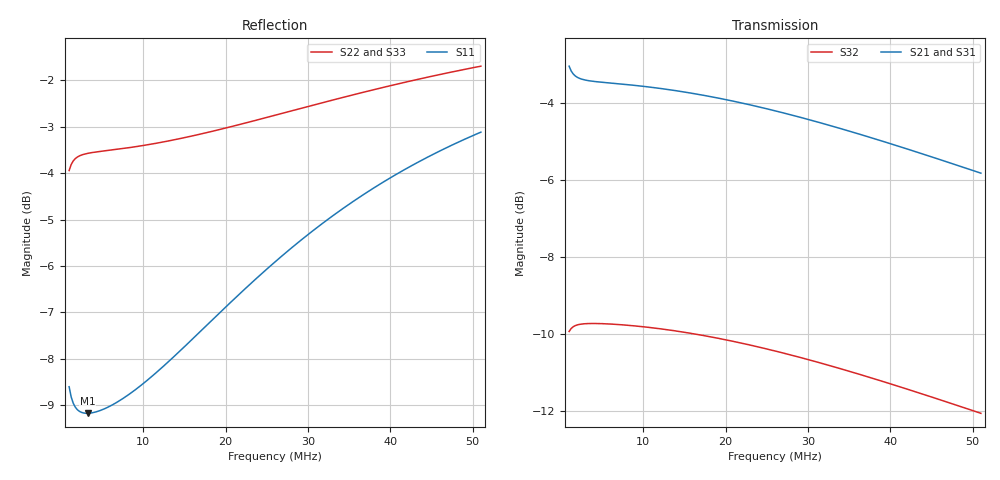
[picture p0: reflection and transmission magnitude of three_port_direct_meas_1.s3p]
# MHz S RI R 50
! S-Parameters data
! Freq  reS11  imS11  reS12  imS12  reS13  imS13
!  reS21  imS21  reS22  imS22  reS23  imS23
!  reS31  imS31  reS32  imS32  reS33  imS33
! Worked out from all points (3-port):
!   201 points, 1 MHz to 51 MHz, reference 50 ohm
!   strongest paths, dB at 1 MHz, 13.5 MHz, 26 MHz, 38.5 MHz, 51 MHz:
!     S21: -3.1, -3.7, -4.2, -5.0, -5.8
!     S31: -4.4, -3.9, -4.4, -5.1, -6.0
!     S32: -9.9, -9.9, -10.4, -11.2, -12.1
!   lowest |S11| = -9.2 dB at 3.25 MHz (marker M1), VSWR 2.07, Z = 24.6 + j5.52 ohm
!   |S11| at or under -10 dB: nowhere
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1  -0.3581 0.099  0.7029 -0.0371  -0.5811 -0.1699
   0.7029 -0.0371  0.6032 0.1985  0.2067 0.242
   -0.5811 -0.1699  0.2067 0.242  0.3821 0.6214
1.25  -0.3504 0.0919  0.6927 -0.0388  -0.6064 -0.1405
      0.6927 -0.0388  0.6223 0.168  0.2462 0.2063
      -0.6064 -0.1405  0.2462 0.2063  0.4734 0.5341
1.75  -0.3424 0.0866  0.6823 -0.0403  -0.6313 -0.0976
      0.6823 -0.0403  0.6411 0.1296  0.2854 0.1533
      -0.6313 -0.0976  0.2854 0.1533  0.5642 0.4107
2.5  -0.3369 0.0898  0.6758 -0.0436  -0.6455 -0.0571
     0.6758 -0.0436  0.6523 0.0998  0.3082 0.1047
     -0.6455 -0.0571  0.3082 0.1047  0.6176 0.3046
3.25  -0.3335 0.0987  0.6725 -0.0488  -0.6507 -0.0302
      0.6725 -0.0488  0.6572 0.0848  0.3173 0.0746
      -0.6507 -0.0302  0.3173 0.0746  0.6399 0.2447
5.5  -0.3246 0.1374  0.6664 -0.0687  -0.653 0.0208
     0.6664 -0.0687  0.6634 0.0704  0.3247 0.0252
     -0.653 0.0208  0.3247 0.0252  0.663 0.1658
9  -0.3056 0.206  0.6564 -0.1033  -0.646 0.0731
   0.6564 -0.1033  0.6695 0.0739  0.3233 -0.0148
   -0.646 0.0731  0.3233 -0.0148  0.6747 0.1317
26  -0.1229 0.4912  0.5643 -0.2468  -0.5566 0.2334
    0.5643 -0.2468  0.7163 0.1316  0.2795 -0.1097
    -0.5566 0.2334  0.2795 -0.1097  0.7234 0.1489
37.75  0.0451 0.6046  0.4799 -0.3038  -0.4734 0.2928
       0.4799 -0.3038  0.7588 0.1579  0.2378 -0.1419
       -0.4734 0.2928  0.2378 -0.1419  0.765 0.168
51  0.2267 0.6607  0.3886 -0.332  -0.3834 0.3224
    0.3886 -0.332  0.8047 0.1707  0.1926 -0.1581
    -0.3834 0.3224  0.1926 -0.1581  0.8098 0.1768
